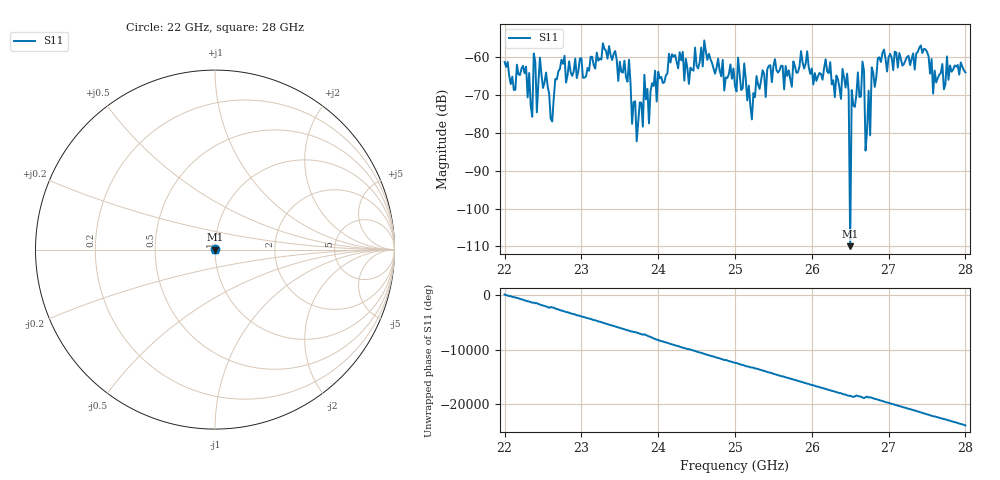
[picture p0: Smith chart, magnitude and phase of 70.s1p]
#  HZ  S  RI  R  50.00
! Rohde & Schwarz ZVA40 4Ports - Version 3.90 - 1145.1110k42 SN: 100403
! Date: 2023-10-04 11:19:29
! Measurement: S12
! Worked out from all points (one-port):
!   301 points, 22 GHz to 28 GHz, reference 50 ohm
!   lowest |S11| = -109.9 dB at 26.5 GHz (marker M1), VSWR 1.00, Z = 50 - j0.000318 ohm
!   |S11| at or under -10 dB: start of sweep to end of sweep
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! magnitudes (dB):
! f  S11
! 22 GHz  -61.4
! 22.36 GHz  -75.8
! 22.38 GHz  -59.2
! 22.42 GHz  -74.7
! 22.46 GHz  -60.2
! 22.62 GHz  -77.1
! 22.76 GHz  -61.9
! 23.5 GHz  -61.3
! 23.62 GHz  -60.8
! 23.72 GHz  -82.3
! 23.8 GHz  -78.4
! 23.82 GHz  -64.8
! 23.88 GHz  -77.6
! 23.96 GHz  -63.7
! 24.26 GHz  -63.1
! 25 GHz  -67.8
! 25.12 GHz  -61.8
! 25.22 GHz  -76.5
! 25.76 GHz  -61.2
! 26.46 GHz  -64.5
! 26.5 GHz  -109.9
! 26.66 GHz  -61.3
! 26.7 GHz  -84.7
! 26.74 GHz  -69.0
! 26.76 GHz  -80.8
! 26.78 GHz  -62.8
! 27.26 GHz  -59.8
! 28 GHz  -64.2
